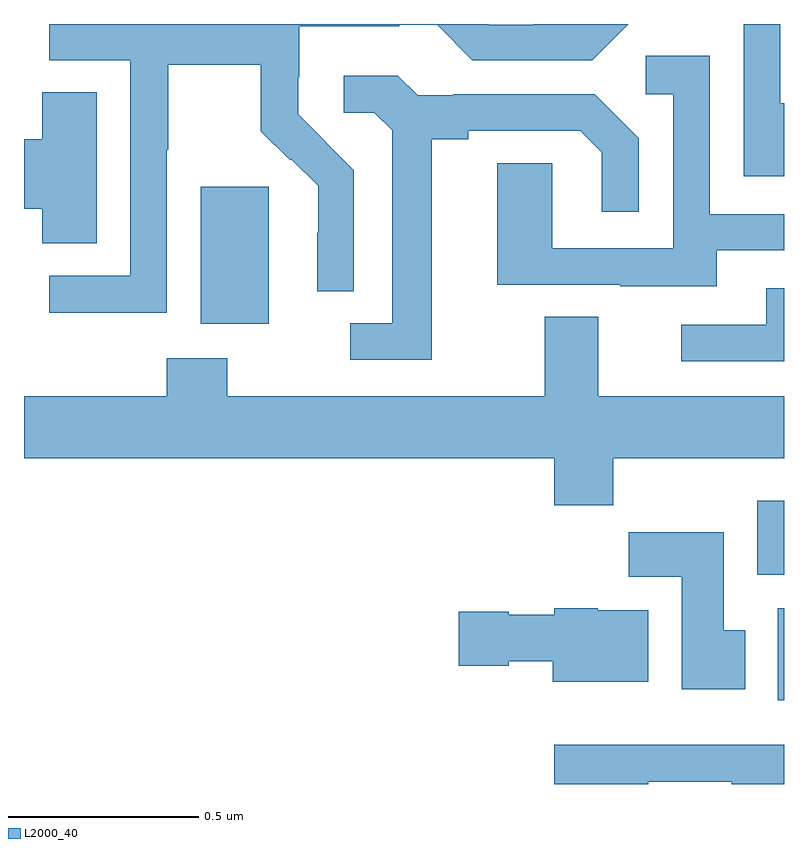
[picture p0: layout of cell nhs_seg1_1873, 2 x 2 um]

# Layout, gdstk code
import gdstk
lib = gdstk.Library(unit=1e-6, precision=1e-09)
def R(c, l, rs):  # rectangles x0, y0, x1, y1
    for r in rs: c.add(gdstk.rectangle(r[:2], r[2:], *l))
def P(c, l, *ps):  # polygons
    for p in ps: c.add(gdstk.Polygon(p, *l))
L2000_40 = (2000, 40)

nhs_seg1_1873 = lib.new_cell('nhs_seg1_1873')
R(nhs_seg1_1873, L2000_40, [(135.983,560.42,136,560.662), (135.929,560.75,136,560.944), (134.465,561.41,134.644,561.771)])
P(nhs_seg1_1873, L2000_40, [(136,561.991),(135.99,561.991),(135.99,562.199),(135.894,562.199),(135.894,561.798),(136,561.798)],
  [(134.376,561.868),(134.379,561.868),(134.379,562.092),(134.623,562.092),(134.623,561.917),(134.7,561.84),(134.703,561.843),(134.774,561.773),(134.774,561.65),(134.772,561.65),(134.772,561.496),(134.868,561.496),(134.868,561.814),(134.795,561.887),(134.796,561.888),(134.722,561.962),(134.722,562.059),(134.724,562.059),(134.724,562.193),(134.987,562.193),(134.987,562.197),(135.087,562.197),(135.18,562.104),(135.495,562.104),(135.59,562.199),(135.341,562.199),(135.341,562.197),(135.225,562.197),(135.223,562.199),(134.067,562.199),(134.067,562.104),(134.28,562.104),(134.28,561.537),(134.067,561.537),(134.067,561.439),(134.376,561.439)],
  [(135.823,561.603),(136,561.603),(136,561.699),(135.804,561.699),(135.804,562.115),(135.636,562.115),(135.636,562.014),(135.708,562.014),(135.708,561.609),(135.39,561.609),(135.39,561.833),(135.245,561.833),(135.245,561.513),(135.569,561.513),(135.569,561.509),(135.823,561.509)],
  [(135.073,561.896),(135.169,561.896),(135.169,561.918),(135.464,561.918),(135.521,561.861),(135.521,561.705),(135.618,561.705),(135.618,561.898),(135.502,562.014),(135.13,562.014),(135.13,562.011),(135.036,562.011),(134.984,562.063),(134.841,562.063),(134.841,561.966),(134.922,561.966),(134.969,561.919),(134.969,561.411),(134.859,561.411),(134.859,561.315),(135.073,561.315)],
  [(134.191,562.019),(134.048,562.019),(134.048,561.896),(134,561.896),(134,561.713),(134.048,561.713),(134.048,561.622),(134.191,561.622)],
  [(136,561.504),(135.953,561.504),(135.953,561.408),(135.729,561.408),(135.729,561.312),(136,561.312)],
  [(135.551,561.056),(136,561.056),(136,561.22),(135.511,561.22),(135.511,561.428),(135.371,561.428),(135.371,561.22),(134.535,561.22),(134.535,561.319),(134.375,561.319),(134.375,561.22),(134,561.22),(134,561.056),(135.395,561.056),(135.395,560.932),(135.551,560.932)],
  [(135.898,560.604),(135.841,560.604),(135.841,560.862),(135.592,560.862),(135.592,560.744),(135.731,560.744),(135.731,560.448),(135.898,560.448)],
  [(135.643,560.656),(135.51,560.656),(135.51,560.662),(135.396,560.662),(135.396,560.644),(135.276,560.644),(135.276,560.652),(135.144,560.652),(135.144,560.51),(135.276,560.51),(135.276,560.522),(135.392,560.522),(135.392,560.468),(135.643,560.468)],
  [(135.643,560.205),(135.863,560.205),(135.863,560.199),(136,560.199),(136,560.302),(135.395,560.302),(135.395,560.199),(135.643,560.199)])

lib.write_gds('nhs_seg1_1873.gds')
